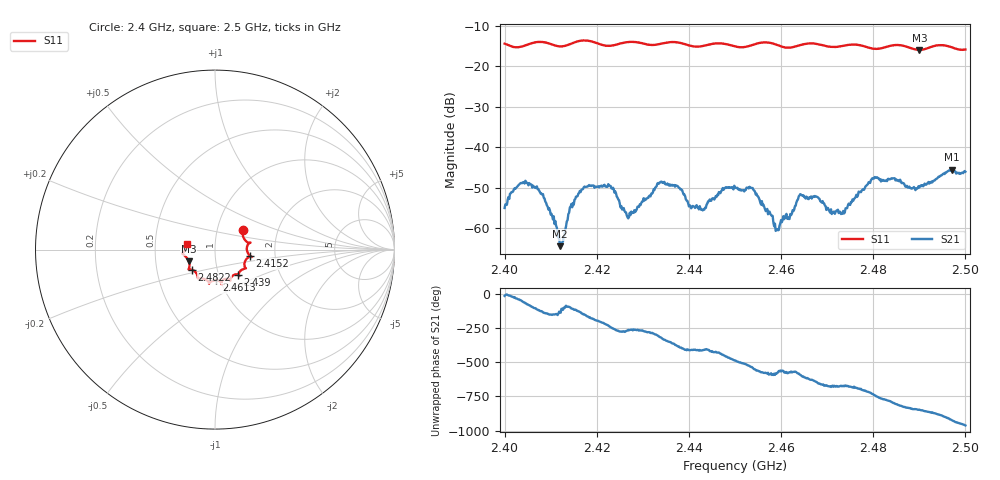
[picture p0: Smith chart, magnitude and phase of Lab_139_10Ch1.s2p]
# Hz S RI R
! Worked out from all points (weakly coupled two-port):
!   601 points, 2.4 GHz to 2.5 GHz, reference 50 ohm
!   highest |S21| = -45.52 dB at 2.497 GHz (marker M1); lowest = -64.4 dB at 2.412 GHz (marker M2)
!   lowest |S11| = -15.9 dB at 2.49 GHz (marker M3), VSWR 1.38, Z = 36.9 - j4.86 ohm
!   |S11| at or under -10 dB: start of sweep to end of sweep
!   S12 and S22 are empty: the file has one direction only
!   S11 on the Smith chart (normalised r, x): 2.4 GHz: 1.33, +0.31; 2.4152 GHz: 1.48, -0.11; 2.439 GHz: 1.24, -0.36; 2.4613 GHz: 0.96, -0.34; 2.4822 GHz: 0.76, -0.17; 2.5 GHz: 0.72, +0.05
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2.4e9  0.1561 0.1112  0.00171 -0.000483  0 0  0 0
2.4035e9  0.1664 0.0544  0.00247 -0.00265  0 0  0 0
2.406667e9  0.1955 0.0374  -0.000829 -0.00313  0 0  0 0
2.412e9  0.1771 0.00684  -0.000441 -0.000406  0 0  0 0
2.415167e9  0.1951 -0.0355  -0.00105 -0.00198  0 0  0 0
2.416667e9  0.2047 -0.0415  -0.00236 -0.00182  0 0  0 0
2.423e9  0.1649 -0.0727  -0.0014 0.00302  0 0  0 0
2.426833e9  0.1718 -0.1037  -0.000143 0.00132  0 0  0 0
2.433333e9  0.1332 -0.1327  0.0022 0.00288  0 0  0 0
2.439e9  0.1282 -0.1396  0.00181 -0.00189  0 0  0 0
2.443167e9  0.0891 -0.1564  0.00106 -0.00132  0 0  0 0
2.45e9  0.0684 -0.1636  -0.00196 -0.00254  0 0  0 0
2.453833e9  0.0353 -0.1815  -0.00314 3.51e-05  0 0  0 0
2.459e9  0.0344 -0.1824  -0.000678 0.000662  0 0  0 0
2.461333e9  0.00783 -0.1707  -0.00101 0.000837  0 0  0 0
2.466667e9  -0.0331 -0.1901  -6.9e-05 0.00233  0 0  0 0
2.473333e9  -0.0801 -0.1607  0.00104 0.00109  0 0  0 0
2.482167e9  -0.1281 -0.1121  0.00248 -0.00307  0 0  0 0
2.483333e9  -0.1394 -0.1106  0.00192 -0.0036  0 0  0 0
2.49e9  -0.147 -0.0642  -0.00191 -0.00255  0 0  0 0
2.497e9  -0.1725 -0.0113  -0.00488 0.00207  0 0  0 0
2.5e9  -0.1586 0.0333  -0.00231 0.00443  0 0  0 0
